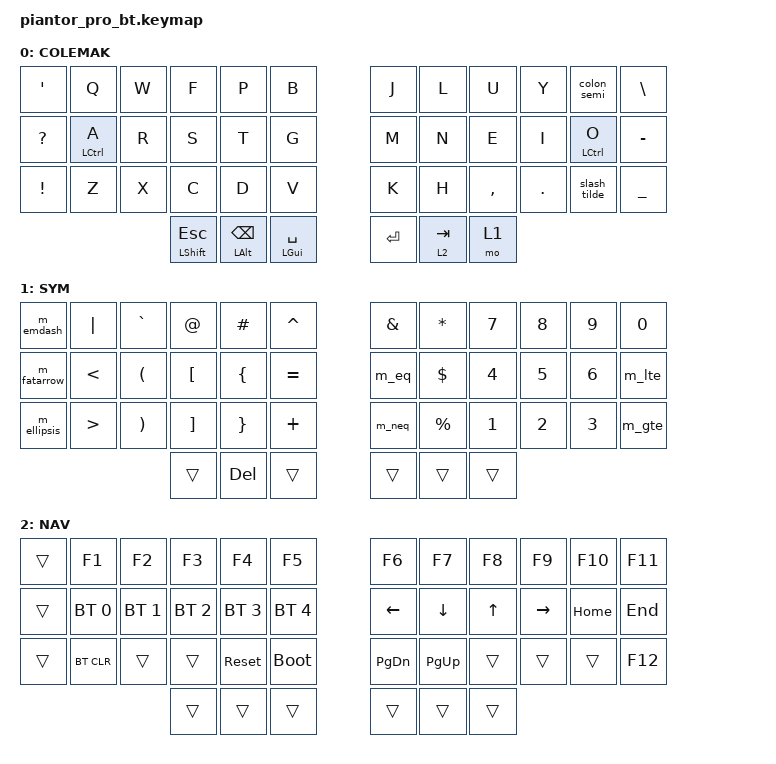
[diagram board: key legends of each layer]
/*
 * Copyright (c) 2020 The ZMK Contributors
 *
 * SPDX-License-Identifier: MIT
 *
 * Piantor Pro BT — Colemak-DH layout v11
 *
 * Changes from v10:
 *   SYM layer rework — clean dupes, add ligature macros and prose marks:
 *
 *     Left hand:
 *       col 0 (outer): —  =>  …      (em-dash / fat-arrow / ellipsis)
 *       col 1:         |  <  >       (| top, < and > paired below)
 *       col 2:         `  (  )       (grave moved here from col 1 top)
 *       col 3-5:       @ [ ] / # { } / ^ = +   (unchanged)
 *
 *     Right hand (numpad columns 8-10 preserved):
 *       col 6:  &  ==  !=     (equality column)
 *       col 7:  *  $   %      (currency column)
 *       col 8-10: 7 8 9 / 4 5 6 / 1 2 3  (numpad)
 *       col 11: 0  <=  >=     (comparison on outer pinky)
 *
 *   Em-dash and ellipsis assume Mac keyboard (Opt+Shift+-, Opt+;).
 *
 * Thumb cluster:
 *   Left:  ESC|SHIFT  ·  BSPC|OPT  ·  SPC|CMD
 *   Right: ENT        ·  TAB|NAV   ·  SYM
 *
 * Home row mods:
 *   Hold A = Ctrl (left), Hold O = Ctrl (right)
 *
 * Base layer pinky columns:
 *   Left outer:  '"  / ?  / !
 *   Right inner: :;  / O  / /~    (colon_semi and slash_tilde mod-morphs)
 *   Right outer: \|  / -  / _
 *
 * Layers:
 *   0 - COLEMAK   base
 *   1 - SYM       left=symbols+prose, right=numpad+ligatures (hold right outer)
 *   2 - NAV       navigation + FN + BT                       (hold right mid)
 *
 * Caps Word: combo left-outer-thumb (ESC tap) + left-inner-thumb (SPACE tap)
 */

#include <behaviors.dtsi>
#include <dt-bindings/zmk/keys.h>
#include <dt-bindings/zmk/bt.h>

/ {
    chosen {
        zmk,physical-layout = &default_layout;
    };
};

/ {
    macros {
        // =>  JS/TS arrow, Rust match arm
        m_fatarrow: m_fatarrow {
            compatible = "zmk,behavior-macro";
            #binding-cells = <0>;
            bindings = <&macro_tap &kp EQUAL &kp GT>;
            wait-ms = <30>;
            tap-ms = <30>;
        };

        // ==  equality
        m_eq: m_eq {
            compatible = "zmk,behavior-macro";
            #binding-cells = <0>;
            bindings = <&macro_tap &kp EQUAL &kp EQUAL>;
            wait-ms = <30>;
            tap-ms = <30>;
        };

        // !=  inequality
        m_neq: m_neq {
            compatible = "zmk,behavior-macro";
            #binding-cells = <0>;
            bindings = <&macro_tap &kp EXCL &kp EQUAL>;
            wait-ms = <30>;
            tap-ms = <30>;
        };

        // <=  less-or-equal
        m_lte: m_lte {
            compatible = "zmk,behavior-macro";
            #binding-cells = <0>;
            bindings = <&macro_tap &kp LT &kp EQUAL>;
            wait-ms = <30>;
            tap-ms = <30>;
        };

        // >=  greater-or-equal
        m_gte: m_gte {
            compatible = "zmk,behavior-macro";
            #binding-cells = <0>;
            bindings = <&macro_tap &kp GT &kp EQUAL>;
            wait-ms = <30>;
            tap-ms = <30>;
        };

        // —  em-dash (Mac: Opt+Shift+-)
        m_emdash: m_emdash {
            compatible = "zmk,behavior-macro";
            #binding-cells = <0>;
            bindings = <&macro_press &kp LALT>,
                       <&macro_press &kp LSHFT>,
                       <&macro_tap &kp MINUS>,
                       <&macro_release &kp LSHFT>,
                       <&macro_release &kp LALT>;
            wait-ms = <30>;
            tap-ms = <30>;
        };

        // …  ellipsis (Mac: Opt+;)
        m_ellipsis: m_ellipsis {
            compatible = "zmk,behavior-macro";
            #binding-cells = <0>;
            bindings = <&macro_press &kp LALT>,
                       <&macro_tap &kp SEMI>,
                       <&macro_release &kp LALT>;
            wait-ms = <30>;
            tap-ms = <30>;
        };
    };

    behaviors {
        // Tap: Space | Hold: Command
        spc_cmd: spc_cmd {
            compatible = "zmk,behavior-hold-tap";
            label = "SPC_CMD";
            #binding-cells = <2>;
            tapping-term-ms = <200>;
            quick-tap-ms = <200>;
            flavor = "balanced";
            bindings = <&kp>, <&kp>;
        };

        // Tap: Escape | Hold: Shift
        esc_shft: esc_shft {
            compatible = "zmk,behavior-hold-tap";
            label = "ESC_SHFT";
            #binding-cells = <2>;
            tapping-term-ms = <200>;
            quick-tap-ms = <200>;
            flavor = "balanced";
            bindings = <&kp>, <&kp>;
        };

        // Tap: Backspace | Hold: Option/Alt
        bspc_opt: bspc_opt {
            compatible = "zmk,behavior-hold-tap";
            label = "BSPC_OPT";
            #binding-cells = <2>;
            tapping-term-ms = <200>;
            quick-tap-ms = <200>;
            flavor = "balanced";
            bindings = <&kp>, <&kp>;
        };

        // Tap: Tab | Hold: NAV layer
        tab_nav: tab_nav {
            compatible = "zmk,behavior-hold-tap";
            label = "TAB_NAV";
            #binding-cells = <2>;
            tapping-term-ms = <200>;
            quick-tap-ms = <150>;
            flavor = "balanced";
            bindings = <&mo>, <&kp>;
        };

        // Hold A = Ctrl — only triggers on right-hand keys
        ctrl_a: ctrl_a {
            compatible = "zmk,behavior-hold-tap";
            label = "CTRL_A";
            #binding-cells = <2>;
            tapping-term-ms = <200>;
            quick-tap-ms = <150>;
            flavor = "balanced";
            hold-trigger-key-positions = <
                6 7 8 9 10 11
                18 19 20 21 22 23
                30 31 32 33 34 35
                39 40 41
            >;
            hold-trigger-on-release;
            bindings = <&kp>, <&kp>;
        };

        // Hold O = Ctrl — only triggers on left-hand keys
        ctrl_o: ctrl_o {
            compatible = "zmk,behavior-hold-tap";
            label = "CTRL_O";
            #binding-cells = <2>;
            tapping-term-ms = <200>;
            quick-tap-ms = <150>;
            flavor = "balanced";
            hold-trigger-key-positions = <
                0 1 2 3 4 5
                12 13 14 15 16 17
                24 25 26 27 28 29
                36 37 38
            >;
            hold-trigger-on-release;
            bindings = <&kp>, <&kp>;
        };

        // : unshifted, ; shifted
        colon_semi: colon_semi {
            compatible = "zmk,behavior-mod-morph";
            label = "COLON_SEMI";
            #binding-cells = <0>;
            bindings = <&kp COLON>, <&kp SEMI>;
            mods = <(MOD_LSFT|MOD_RSFT)>;
        };

        // / unshifted, ~ shifted
        slash_tilde: slash_tilde {
            compatible = "zmk,behavior-mod-morph";
            label = "SLASH_TILDE";
            #binding-cells = <0>;
            bindings = <&kp FSLH>, <&kp TILDE>;
            mods = <(MOD_LSFT|MOD_RSFT)>;
        };
    };

    combos {
        compatible = "zmk,combos";

        // Caps Word: left-outer-thumb (esc_shft) + left-inner-thumb (spc_cmd)
        combo_caps_word {
            timeout-ms = <50>;
            key-positions = <36 38>;
            bindings = <&caps_word>;
        };
    };

    keymap {
        compatible = "zmk,keymap";

        // ─────────────────────────────────────────────────────────────────
        // Layer 0: COLEMAK-DH
        //
        // ┌──────┬──────┬──────┬──────┬──────┬──────┐ ┌──────┬──────┬──────┬──────┬──────┬──────┐
        // │  '"  │  Q   │  W   │  F   │  P   │  B   │ │  J   │  L   │  U   │  Y   │  :;  │  \|  │
        // ├──────┼──────┼──────┼──────┼──────┼──────┤ ├──────┼──────┼──────┼──────┼──────┼──────┤
        // │  ?   │ A/CT │  R   │  S   │  T   │  G   │ │  M   │  N   │  E   │  I   │O/CTL │  -   │
        // ├──────┼──────┼──────┼──────┼──────┼──────┤ ├──────┼──────┼──────┼──────┼──────┼──────┤
        // │  !   │  Z   │  X   │  C   │  D   │  V   │ │  K   │  H   │  ,   │  .   │  /~  │  _   │
        // └──────┴──────┴──────┼──────┼──────┼──────┤ ├──────┼──────┼──────┼──────┴──────┴──────┘
        //                      │ESC/SH│BSPC/O│SPC/CM│ │ ENT  │TAB/NV│ SYM  │
        //                      └──────┴──────┴──────┘ └──────┴──────┴──────┘
        // ─────────────────────────────────────────────────────────────────
        colemak_layer {
            display-name = "COLEMAK";
            bindings = <
                &kp SQT        &kp Q           &kp W &kp F &kp P &kp B    &kp J &kp L &kp U     &kp Y   &colon_semi      &kp BSLH
                &kp QMARK      &ctrl_a LCTRL A &kp R &kp S &kp T &kp G    &kp M &kp N &kp E     &kp I   &ctrl_o LCTRL O  &kp MINUS
                &kp EXCL       &kp Z           &kp X &kp C &kp D &kp V    &kp K &kp H &kp COMMA &kp DOT &slash_tilde     &kp UNDER
                     &esc_shft LSHFT ESC   &bspc_opt LALT BSPC   &spc_cmd LGUI SPACE      &kp RET   &tab_nav 2 TAB   &mo 1
            >;
        };

        // ─────────────────────────────────────────────────────────────────
        // Layer 1: SYM — left=symbols+prose, right=numpad+ligatures
        // Hold right outer thumb (SYM key)
        //
        // ┌──────┬──────┬──────┬──────┬──────┬──────┐ ┌──────┬──────┬──────┬──────┬──────┬──────┐
        // │  —   │  |   │  `   │  @   │  #   │  ^   │ │  &   │  *   │  7   │  8   │  9   │  0   │
        // ├──────┼──────┼──────┼──────┼──────┼──────┤ ├──────┼──────┼──────┼──────┼──────┼──────┤
        // │  =>  │  <   │  (   │  [   │  {   │  =   │ │  ==  │  $   │  4   │  5   │  6   │  <=  │
        // ├──────┼──────┼──────┼──────┼──────┼──────┤ ├──────┼──────┼──────┼──────┼──────┼──────┤
        // │  …   │  >   │  )   │  ]   │  }   │  +   │ │  !=  │  %   │  1   │  2   │  3   │  >=  │
        // └──────┴──────┴──────┼──────┼──────┼──────┤ ├──────┼──────┼──────┼──────┴──────┴──────┘
        //                      │      │ DEL  │      │ │      │      │[HLD] │
        //                      └──────┴──────┴──────┘ └──────┴──────┴──────┘
        // ─────────────────────────────────────────────────────────────────
        sym_layer {
            display-name = "SYM";
            bindings = <
                &m_emdash    &kp PIPE  &kp GRAVE &kp AT   &kp HASH &kp CARET    &kp AMPS    &kp ASTRK &kp N7 &kp N8 &kp N9 &kp N0
                &m_fatarrow  &kp LT    &kp LPAR  &kp LBKT &kp LBRC &kp EQUAL    &m_eq       &kp DLLR  &kp N4 &kp N5 &kp N6 &m_lte
                &m_ellipsis  &kp GT    &kp RPAR  &kp RBKT &kp RBRC &kp PLUS     &m_neq      &kp PRCNT &kp N1 &kp N2 &kp N3 &m_gte
                                       &trans    &kp DEL  &trans                 &trans      &trans    &trans
            >;
        };

        // ─────────────────────────────────────────────────────────────────
        // Layer 2: NAV + FUNCTION + BT
        // Hold right mid thumb (TAB|NAV)
        //
        // ┌──────┬──────┬──────┬──────┬──────┬──────┐ ┌──────┬──────┬──────┬──────┬──────┬──────┐
        // │      │  F1  │  F2  │  F3  │  F4  │  F5  │ │  F6  │  F7  │  F8  │  F9  │ F10  │ F11  │
        // ├──────┼──────┼──────┼──────┼──────┼──────┤ ├──────┼──────┼──────┼──────┼──────┼──────┤
        // │      │ BT0  │ BT1  │ BT2  │ BT3  │ BT4  │ │ LEFT │ DOWN │  UP  │ RGHT │ HOME │ END  │
        // ├──────┼──────┼──────┼──────┼──────┼──────┤ ├──────┼──────┼──────┼──────┼──────┼──────┤
        // │      │BTCLR │      │      │ RST  │ BOOT │ │ PGDN │ PGUP │      │      │      │ F12  │
        // └──────┴──────┴──────┼──────┼──────┼──────┤ ├──────┼──────┼──────┼──────┴──────┴──────┘
        //                      │      │      │      │ │      │      │[HLD] │
        //                      └──────┴──────┴──────┘ └──────┴──────┴──────┘
        // ─────────────────────────────────────────────────────────────────
        nav_layer {
            display-name = "NAV";
            bindings = <
                &trans &kp F1       &kp F2       &kp F3       &kp F4       &kp F5          &kp F6    &kp F7    &kp F8 &kp F9    &kp F10  &kp F11
                &trans &bt BT_SEL 0 &bt BT_SEL 1 &bt BT_SEL 2 &bt BT_SEL 3 &bt BT_SEL 4    &kp LEFT  &kp DOWN  &kp UP &kp RIGHT &kp HOME &kp END
                &trans &bt BT_CLR   &trans       &trans       &sys_reset   &bootloader     &kp PG_DN &kp PG_UP &trans &trans    &trans   &kp F12
                                    &trans       &trans       &trans                       &trans    &trans    &trans
            >;
        };
    };
};
